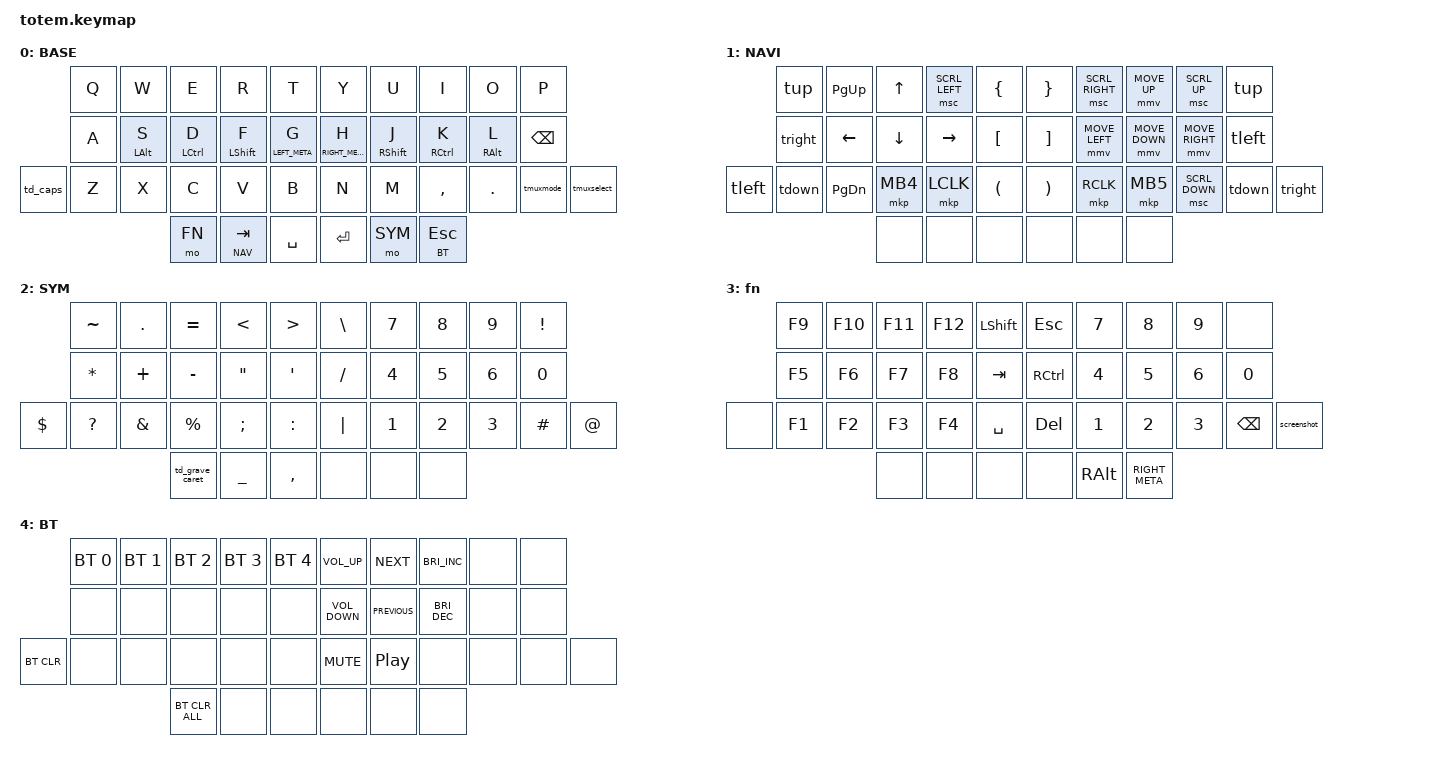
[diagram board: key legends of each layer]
//
//                                                        ▀▀▀▀▀     ▀▀▀▀▀          ▀▀█▀▀
//                                                        ▄▀▀▀▄  ▄  ▄▀▀▀▄  ▄  ▄▀▀▀▄  █  ▄▀▀▀▄
//                                                        █   █  █  █   █  █  █   █  █  █   █
//                                                         ▀▀▀   █   ▀▀▀   █   ▀▀▀   ▀   ▀▀▀
//                                                               █      ▄▄▄█▄▄▄    █   █  
//                                                               ▀      █  █  █     █▄█
//                                                             ▀▀▀▀▀    █  █  █      ▀
//                                                                      ▀  ▀  ▀
//
// ▄▄▄▄▄▄▄▄▄▄▄▄▄▄▄▄▄▄▄▄▄▄▄▄▄▄▄▄▄▄▄▄▄▄▄▄▄▄▄▄▄▄▄▄▄▄▄▄▄▄▄▄▄▄▄▄▄▄▄▄▄▄▄▄▄▄▄▄▄▄▄▄▄▄▄▄▄▄▄▄▄▄▄▄▄▄▄▄▄▄▄▄▄▄▄▄▄▄▄▄▄▄▄▄▄▄▄▄▄▄▄▄▄▄▄▄▄▄▄▄▄▄▄▄▄▄▄▄▄▄▄▄▄▄▄▄▄▄▄▄▄▄▄▄▄▄▄▄▄

#define ZMK_POINTING_DEFAULT_MOVE_VAL 700
#define ZMK_POINTING_DEFAULT_SCRL_VAL 20

#include <behaviors.dtsi>
#include <dt-bindings/zmk/bt.h>
#include <dt-bindings/zmk/keys.h>
#include <dt-bindings/zmk/pointing.h>

#define BASE 0
#define NAV  1
#define SYM  2
#define FN  3
#define BT  4

&mmv {
    acceleration-exponent = <1>;
    time-to-max-speed-ms = <100>;
};

/ {
    combos {
        compatible = "zmk,combos";

        // BASE/SYM: C + V -> DELETE.
        combo_sym_delete: combo_sym_delete {
            timeout-ms = <100>;
            require-prior-idle-ms = <150>;
            key-positions = <23 24>;
            layers = <BASE SYM>;
            bindings = <&kp DELETE>;
        };

        // BASE/SYM: M + , -> BACKSPACE.
        combo_sym_backspace: combo_sym_backspace {
            timeout-ms = <100>;
            require-prior-idle-ms = <150>;
            key-positions = <27 28>;
            layers = <BASE SYM>;
            bindings = <&kp BACKSPACE>;
        };
    };

    behaviors {
        td_caps: td_caps {
            compatible = "zmk,behavior-tap-dance";
            #binding-cells = <0>;
            bindings = <&caps_word>, <&kp CAPS>;
        };

        td_grave_caret: td_grave_caret {
            compatible = "zmk,behavior-tap-dance";
            #binding-cells = <0>;
            bindings = <&kp GRAVE>, <&kp CARET>;

            label = "GRAVE/CARET";
        };

        hml: home_row_mod_left {
            compatible = "zmk,behavior-hold-tap";
            #binding-cells = <2>;
            flavor = "balanced";
            tapping-term-ms = <280>;
            quick-tap-ms = <175>;
            require-prior-idle-ms = <210>;
            hold-trigger-on-release;
            hold-trigger-key-positions = <5 6 7 8 9 15 16 17 18 19 26 27 28 29 30 31 32 33 34 35 36 37>;
            bindings = <&kp>, <&kp>;
        };

        hmr: home_row_mod_right {
            compatible = "zmk,behavior-hold-tap";
            #binding-cells = <2>;
            flavor = "balanced";
            tapping-term-ms = <280>;
            quick-tap-ms = <175>;
            require-prior-idle-ms = <210>;
            hold-trigger-on-release;
            hold-trigger-key-positions = <0 1 2 3 4 10 11 12 13 14 20 21 22 23 24 25 32 33 34 35 36 37>;
            bindings = <&kp>, <&kp>;
        };

        screenshot: screenshot {
            compatible = "zmk,behavior-tap-dance";
            #binding-cells = <0>;
            bindings = <&kp LG(LS(S))>, <&kp LG(LS(NUMBER_3))>;

            label = "SCREENSHOT";
        };
    };

    macros {
        tmuxmode: tmuxbegin {
            compatible = "zmk,behavior-macro";
            #binding-cells = <0>;
            bindings = <&kp RC(B)>;
            label = "TMUXBEGIN";
        };

        tleft: tleft {
            compatible = "zmk,behavior-macro";
            #binding-cells = <0>;
            bindings = <&kp LC(B) &kp LEFT>;
            label = "TLEFT";
        };

        tright: tright {
            compatible = "zmk,behavior-macro";
            #binding-cells = <0>;
            bindings = <&kp LC(B) &kp RIGHT_ARROW>;
            label = "TRIGHT";
        };

        tup: tup {
            compatible = "zmk,behavior-macro";
            #binding-cells = <0>;
            bindings = <&kp RC(B) &kp UP_ARROW>;
            label = "TUP";
        };

        tdown: tdown {
            compatible = "zmk,behavior-macro";
            #binding-cells = <0>;
            bindings = <&kp RC(B) &kp DOWN_ARROW>;
            label = "TDOWN";
        };

        tmuxselect: tmuxmode {
            compatible = "zmk,behavior-macro";
            #binding-cells = <0>;
            bindings = <&kp LC(B) &kp LEFT_BRACKET>;
            label = "TMUXMODE";
        };
    };

    keymap {
        compatible = "zmk,keymap";

        // ▄▄▄▄▄▄▄▄▄▄▄▄▄▄▄▄▄▄▄▄▄▄▄▄▄▄▄▄▄▄▄▄▄▄▄▄▄▄▄▄▄▄▄▄▄▄▄▄▄▄▄▄▄▄▄▄▄▄▄▄▄▄▄▄▄▄▄▄▄▄▄▄▄▄▄▄▄▄▄▄▄▄▄▄▄▄▄▄▄▄▄▄▄▄▄▄▄▄▄▄▄▄▄▄▄▄▄▄▄▄▄▄▄▄▄▄▄▄▄▄▄▄▄▄▄▄▄▄▄▄▄▄▄▄▄▄▄▄▄▄▄▄▄▄▄▄▄▄▄

        base_layer {
            label = "BASE";
            bindings = <
          &kp Q  &kp W        &kp E         &kp R         &kp T               &kp Y              &kp U         &kp I          &kp O             &kp P
          &kp A  &hml LALT S  &hml LCTRL D  &hml LSHFT F  &hml LEFT_META G    &hmr RIGHT_META H  &hmr RSHFT J  &hmr RCTRL K   &hmr RIGHT_ALT L  &kp BACKSPACE
&td_caps  &kp Z  &kp X        &kp C         &kp V         &kp B               &kp N              &kp M         &kp COMMA      &kp DOT           &tmuxmode      &tmuxselect
                              &mo FN        &lt NAV TAB   &kp SPACE           &kp RET            &mo SYM       &lt BT ESCAPE
            >;
        };

        // ▄▄▄▄▄▄▄▄▄▄▄▄▄▄▄▄▄▄▄▄▄▄▄▄▄▄▄▄▄▄▄▄▄▄▄▄▄▄▄▄▄▄▄▄▄▄▄▄▄▄▄▄▄▄▄▄▄▄▄▄▄▄▄▄▄▄▄▄▄▄▄▄▄▄▄▄▄▄▄▄▄▄▄▄▄▄▄▄▄▄▄▄▄▄▄▄▄▄▄▄▄▄▄▄▄▄▄▄▄▄▄▄▄▄▄▄▄▄▄▄▄▄▄▄▄▄▄▄▄▄▄▄▄▄▄▄▄▄▄▄▄▄▄▄▄▄▄▄▄

        nav_layer {
            label = "NAVI";
            bindings = <
        &tup     &kp PAGE_UP    &kp UP    &msc SCRL_LEFT  &kp LBRC    &kp RBRC  &msc SCRL_RIGHT  &mmv MOVE_UP    &msc SCRL_UP     &tup
        &tright  &kp LEFT       &kp DOWN  &kp RIGHT       &kp LBKT    &kp RBKT  &mmv MOVE_LEFT   &mmv MOVE_DOWN  &mmv MOVE_RIGHT  &tleft
&tleft  &tdown   &kp PAGE_DOWN  &mkp MB4  &mkp LCLK       &kp LPAR    &kp RPAR  &mkp RCLK        &mkp MB5        &msc SCRL_DOWN   &tdown  &tright
                                &none     &none           &none       &none     &none            &none
            >;
        };

        // ▄▄▄▄▄▄▄▄▄▄▄▄▄▄▄▄▄▄▄▄▄▄▄▄▄▄▄▄▄▄▄▄▄▄▄▄▄▄▄▄▄▄▄▄▄▄▄▄▄▄▄▄▄▄▄▄▄▄▄▄▄▄▄▄▄▄▄▄▄▄▄▄▄▄▄▄▄▄▄▄▄▄▄▄▄▄▄▄▄▄▄▄▄▄▄▄▄▄▄▄▄▄▄▄▄▄▄▄▄▄▄▄▄▄▄▄▄▄▄▄▄▄▄▄▄▄▄▄▄▄▄▄▄▄▄▄▄▄▄▄▄▄▄▄▄▄▄▄▄

        symbol_layer {
            label = "SYM";
            bindings = <
            &kp TILDE     &kp PERIOD     &kp EQUAL        &kp LESS_THAN      &kp GREATER_THAN    &kp BACKSLASH  &kp N7  &kp N8  &kp N9  &kp EXCLAMATION
            &kp ASTERISK  &kp PLUS       &kp MINUS        &kp DOUBLE_QUOTES  &kp SQT             &kp SLASH      &kp N4  &kp N5  &kp N6  &kp N0
&kp DOLLAR  &kp QUESTION  &kp AMPERSAND  &kp PERCENT      &kp SEMICOLON      &kp COLON           &kp PIPE       &kp N1  &kp N2  &kp N3  &kp HASH         &kp AT_SIGN
                                         &td_grave_caret  &kp UNDER          &kp COMMA           &none          &none   &none
            >;
        };

        // ▄▄▄▄▄▄▄▄▄▄▄▄▄▄▄▄▄▄▄▄▄▄▄▄▄▄▄▄▄▄▄▄▄▄▄▄▄▄▄▄▄▄▄▄▄▄▄▄▄▄▄▄▄▄▄▄▄▄▄▄▄▄▄▄▄▄▄▄▄▄▄▄▄▄▄▄▄▄▄▄▄▄▄▄▄▄▄▄▄▄▄▄▄▄▄▄▄▄▄▄▄▄▄▄▄▄▄▄▄▄▄▄▄▄▄▄▄▄▄▄▄▄▄▄▄▄▄▄▄▄▄▄▄▄▄▄▄▄▄▄▄▄▄▄▄▄▄▄▄

        function_layer {
            label = "fn";
            bindings = <
       &kp F9  &kp F10  &kp F11  &kp F12  &kp LEFT_SHIFT    &kp ESCAPE  &kp N7         &kp N8          &kp N9  &none
       &kp F5  &kp F6   &kp F7   &kp F8   &kp TAB           &kp RCTRL   &kp N4         &kp N5          &kp N6  &kp N0
&none  &kp F1  &kp F2   &kp F3   &kp F4   &kp SPACE         &kp DELETE  &kp N1         &kp N2          &kp N3  &kp BACKSPACE  &screenshot
                        &none    &none    &none             &none       &kp RIGHT_ALT  &kp RIGHT_META
            >;
        };

        // ▄▄▄▄▄▄▄▄▄▄▄▄▄▄▄▄▄▄▄▄▄▄▄▄▄▄▄▄▄▄▄▄▄▄▄▄▄▄▄▄▄▄▄▄▄▄▄▄▄▄▄▄▄▄▄▄▄▄▄▄▄▄▄▄▄▄▄▄▄▄▄▄▄▄▄▄▄▄▄▄▄▄▄▄▄▄▄▄▄▄▄▄▄▄▄▄▄▄▄▄▄▄▄▄▄▄▄▄▄▄▄▄▄▄▄▄▄▄▄▄▄▄▄▄▄▄▄▄▄▄▄▄▄▄▄▄▄▄▄▄▄▄▄▄▄▄▄▄▄
        // ▄▄▄▄▄▄▄▄▄▄▄▄▄▄▄▄▄▄▄▄▄▄▄▄▄▄▄▄▄▄▄▄▄▄▄▄▄▄▄▄▄▄▄▄▄▄▄▄▄▄▄▄▄▄▄▄▄▄▄▄▄▄▄▄▄▄▄▄▄▄▄▄▄▄▄▄▄▄▄▄▄▄▄▄▄▄▄▄▄▄▄▄▄▄▄▄▄▄▄▄▄▄▄▄▄▄▄▄▄▄▄▄▄▄▄▄▄▄▄▄▄▄▄▄▄▄▄▄▄▄▄▄▄▄▄▄▄▄▄▄▄▄▄▄▄▄▄▄▄

        bt_layer {
            label = "BT";
            bindings = <
            &bt BT_SEL 0  &bt BT_SEL 1  &bt BT_SEL 2    &bt BT_SEL 3  &bt BT_SEL 4    &kp C_VOLUME_UP    &kp C_NEXT        &kp C_BRIGHTNESS_INC  &none  &none
            &none         &none         &none           &none         &none           &kp C_VOLUME_DOWN  &kp C_PREVIOUS    &kp C_BRIGHTNESS_DEC  &none  &none
&bt BT_CLR  &none         &none         &none           &none         &none           &kp C_MUTE         &kp C_PLAY_PAUSE  &none                 &none  &none  &none
                                        &bt BT_CLR_ALL  &none         &none           &none              &none             &none
            >;
        };
    };
};
